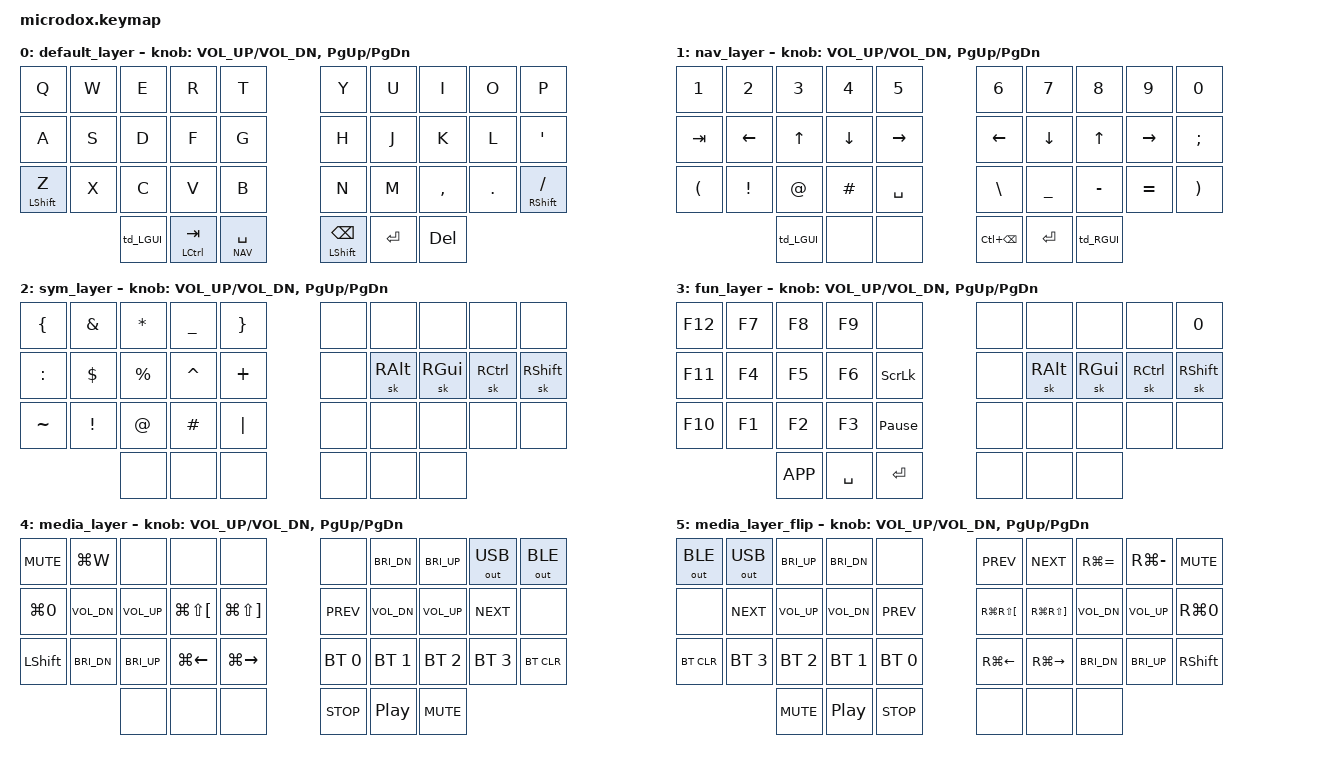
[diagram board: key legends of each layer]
/*
 * Copyright (c) 2020 The ZMK Contributors
 *
 * SPDX-License-Identifier: MIT
 */

#include <behaviors.dtsi>
#include <dt-bindings/zmk/keys.h>
#include <dt-bindings/zmk/bt.h>
#include <dt-bindings/zmk/outputs.h>

#define BASE        0
#define NAV         1
#define SYM         2
#define FUN         3
#define MEDIA       4
#define MEDIA_FLIP  5


// #define BASE        0
// #define CMK_DH      1
// #define NAV         2
// #define NUM         3
// #define SYM         4
// #define FUN         5
// #define MEDIA       6
// #define MEDIA_FLIP       7


&lt { // layer-tap
  tapping-term-ms = <200>;
  quick-tap-ms = <200>;
  flavor = "hold-preferred";
};

&sk { // sticky key
  release-after-ms = <500>;
  quick-release;
};

/ {
  behaviors { 
    td_LGUI: tap_dance_LGUI {
      compatible = "zmk,behavior-tap-dance";
      label = "TAP_DANCE_LGUI";
      #binding-cells = <0>;
      tapping-term-ms = <300>;
      bindings = <&kp LGUI>, <&kp LS(LGUI)>;
    };


    td_RGUI: tap_dance_RGUI {
      compatible = "zmk,behavior-tap-dance";
      label = "TAP_DANCE_RGUI";
      #binding-cells = <0>;
      tapping-term-ms = <300>;
      bindings = <&kp RGUI>, <&kp LS(RGUI)>;
    };

    
    td_RSHIFT: tap_dance_RSHIFT {
      compatible = "zmk,behavior-tap-dance";
      label = "TAP_DANCE_RSHIFT";
      #binding-cells = <0>;
      tapping-term-ms = <300>;
      bindings = <&kp RSHIFT>, <&kt RSHIFT>;
    };

    td_LSHIFT: tap_dance_LSHIFT {
      compatible = "zmk,behavior-tap-dance";
      label = "TAP_DANCE_LSHIFT";
      #binding-cells = <0>;
      tapping-term-ms = <300>;
      bindings = <&kp LSHIFT>, <&kt LSHIFT>;
    };
  };

 
  combos {
    compatible = "zmk,combos"; 

    combo_esc {
      timeout-ms = <50>;
      key-positions=<2 3>;
      bindings=<&kp ESC>;    
    };

    p_combo {
      timeout-ms = <50>;
      key-positions=<7 8>;
      bindings=<&kp P>;
    }; 

    q_combo {
      timeout-ms = <50>;
      key-positions=<1 2>;
      bindings=<&kp Q>;
    }; 

    lctrl {
      timeout-ms = <50>;
      key-positions=<12 13>;
      bindings=<&kp LCTRL>;
    }; 

    rctrl {
      timeout-ms = <50>;
      key-positions=<16 17>;
      bindings=<&kp RCTRL>;
    }; 

    // toggle_cmk_dh {
    //   timeout-ms = <50>;
    //   key-positions=<0 1 8 9>;
    //   bindings=<&tog CMK_DH>;
    // };

    // media_layer { 
    //   timeout-ms = <50>;
    //   key-positions=<30 31>;
    //   bindings=<&mo MEDIA>;
    // }
    
    // media_layer_flip { 
    //   timeout-ms = <50>;
    //   key-positions=<34 35>;
    //   bindings=<&mo MEDIA_FLIP>;
    // }; 

    // num_layer { 
    //   timeout-ms = <50>;
    //   key-positions=<33 34>;
    //   bindings=<&mo NUM>;
    // }; 

    // fn_layer {
    //   timeout-ms = <50>;
    //   key-positions=<31 32>; 
    //   bindings=<&mo FUN>;
    // };
    
    // left_bspc {
    //   timeout-ms = <50>;
    //   key-positions=<0 10>;
    //   bindings=<&kp BSPC>;
    // };

    // tab {
    //   timeout-ms = <50>;
    //   key-positions=<11 12 13>;
    //   bindings=<&kp TAB>;
    // };  

    // tab2 {
    //   timeout-ms = <50>;
    //   key-positions=<16 17 18>;
    //   bindings=<&kp TAB>;
    // };

    // grave {
    //   timeout-ms = <50>;
    //   key-positions=<1 2 3>;
    //   bindings=<&kp GRAVE>;
    // };

    // grave2 {
    //   timeout-ms = <50>;
    //   key-positions=<6 7 8>;
    //   bindings=<&kp GRAVE>;
    // };

    // shift_tab {
    //   timeout-ms = <50>;
    //   key-positions=<21 22 23>;
    //   bindings=<&kp LS(TAB)>;
    // };

    // shift_tab2 {
    //   timeout-ms = <50>;
    //   key-positions=<26 27 28>;
    //   bindings=<&kp LS(TAB)>;
    // };

    // left {
    //   timeout-ms = <50>;
    //   key-positions=<11 21>; 
    //   bindings=<&kp LEFT>;
    // };

    // left_2 {
    //   timeout-ms = <50>;
    //   key-positions=<15 25>; 
    //   bindings=<&kp LEFT>;
    // };

    // up {
    //   timeout-ms = <50>;
    //   key-positions=<12 22>; 
    //   bindings=<&kp UP>;
    // };
    
    // up_2 {
    //   timeout-ms = <50>;
    //   key-positions=<17 27>; 
    //   bindings=<&kp UP>;
    // };
    
    // down {
    //   timeout-ms = <50>;
    //   key-positions=<13 23>; 
    //   bindings=<&kp DOWN>;
    // };
    
    // down_2 {
    //   timeout-ms = <50>;
    //   key-positions=<16 26>; 
    //   bindings=<&kp DOWN>;
    // };
    
    // right {
    //   timeout-ms = <50>;
    //   key-positions=<14 24>; 
    //   bindings=<&kp RIGHT>;
    // };

    // right_2 {
    //   timeout-ms = <50>;
    //   key-positions=<18 28>; 
    //   bindings=<&kp RIGHT>;
    // };

    // caps { 
    //   timeout-ms = <50>;
    //   key-positions=<5 6>;
    //   bindings=<&kp CAPS>;
    // };

    // space { 
    //   timeout-ms = <50>;
    //   key-positions=<24 32>;
    //   bindings=<&kp SPACE>;
    // };

    // space_2 { 
    //   timeout-ms = <50>;
    //   key-positions=<13 14>;
    //   bindings=<&kp SPACE>;
    // };

    // semi_colon {
    //   timeout-ms = <50>;
    //   key-positions=<19 32>;
    //   bindings=<&kp SEMI>;
    // };

    // colon  {
    //   timeout-ms = <50>;
    //   key-positions=<10 19 32>;
    //   bindings=<&kp COLON>;
    // };
  
    // modifiers
    // l_shift {
    //   timeout-ms = <75>;
    //   key-positions = <20 21>;
    //   bindings = <&sk LSHFT>;
    // };

    // l_ctrl {
    //   timeout-ms = <50>;
    //   key-positions = <21 22>;
    //   bindings = <&sk LCTRL>;
    // };

    // l_gui {
    //   timeout-ms = <50>;
    //   key-positions = <22 23>;
    //   bindings = <&sk LGUI>;
    // };

    // l_alt {
    //   timeout-ms = <50>;
    //   key-positions = <23 24>;
    //   bindings = <&sk LALT>;
    // };

    // l_shift_pinky {
    //   timeout-ms = <75>;
    //   key-positions=<10 20>;
    //   bindings=<&td_LSHIFT>;
    // };

    // r_shift_pinky {
    //   timeout-ms = <75>;
    //   key-positions=<19 29>;
    //   bindings=<&td_RSHIFT>;
    // };

    // r_alt {
    //   timeout-ms = <50>;
    //   key-positions = <25 26>;
    //   bindings = <&sk RALT>;
    // };

    // r_gui {
    //   timeout-ms = <50>;
    //   key-positions = <26 27>;
    //   bindings = <&sk RGUI>;
    // };

    // r_ctrl {
    //   timeout-ms = <50>;
    //   key-positions = <27 28>;
    //   bindings = <&sk RCTRL>;
    // };

    // r_shift {
    //   timeout-ms = <75>;
    //   key-positions = <28 29>;
    //   bindings = <&sk RSHFT>;
    // };
  };
    keymap {
      compatible = "zmk,keymap";

      default_layer {
        bindings = <
                      &kp Q &kp W &kp E &kp R &kp T                   &kp Y &kp U &kp I &kp O &kp P             
                      &kp A &kp S &kp D &kp F &kp G                   &kp H &kp J &kp K &kp L &kp SQT      
                      &mt LSHIFT Z &kp X &kp C &kp V &kp B            &kp N &kp M &kp COMMA &kp DOT &mt RSHIFT FSLH  
                      &td_LGUI &mt LCTRL TAB &lt NAV SPACE            &mt LSHIFT BSPC &kp RET &kp DEL
        >;
                                
        sensor-bindings = <&inc_dec_kp C_VOL_UP C_VOL_DN &inc_dec_kp PG_UP PG_DN>;
      };
                  
      nav_layer {
                bindings = <
                    &kp N1 &kp N2 &kp N3 &kp N4 &kp N5              &kp N6 &kp N7 &kp N8 &kp N9 &kp N0 
                    &kp TAB &kp LEFT &kp UP &kp DOWN &kp RIGHT      &kp LEFT &kp DOWN &kp UP &kp RIGHT &kp SEMI 
                    &kp LPAR &kp EXCL &kp AT &kp HASH &kp SPACE     &kp BSLH &kp UNDER &kp MINUS &kp EQUAL &kp RPAR 
                                 &td_LGUI &none &none               &kp LC(BSPC) &kp RET &td_RGUI 
                >;

        sensor-bindings = <&inc_dec_kp C_VOL_UP C_VOL_DN &inc_dec_kp PG_UP PG_DN>;

      };

      sym_layer { // not being used  
                bindings = <
        &kp LBRC &kp AMPS &kp ASTRK &kp UNDER &kp RBRC          &none &none &none &none &none   
      &kp COLON &kp DLLR &kp PRCNT &kp CARET &kp PLUS          &none &sk RALT &sk RGUI &sk RCTRL &sk RSHFT 
          &kp TILDE &kp EXCL &kp AT &kp HASH &kp PIPE          &none &none &none &none &none 
                                    &none &none &none          &none &none &none
                >;

        sensor-bindings = <&inc_dec_kp C_VOL_UP C_VOL_DN &inc_dec_kp PG_UP PG_DN>;
        
      };

      fun_layer{
              bindings = <
          &kp F12 &kp F7 &kp F8 &kp F9 &none                     &none &none &none &none &kp N0  
          &kp F11 &kp F4 &kp F5 &kp F6 &kp SLCK                  &none &sk RALT &sk RGUI &sk RCTRL &sk RSHFT 
          &kp F10 &kp F1 &kp F2 &kp F3 &kp PAUSE_BREAK           &none &none &none &none &none 
                        &kp K_APP &kp SPACE &kp RET              &none &none &none  
            >;

    sensor-bindings = <&inc_dec_kp C_VOL_UP C_VOL_DN &inc_dec_kp PG_UP PG_DN>;
      };


      media_layer {
            bindings = <
                                     &kp C_MUTE &kp LG(W) &none &none &none         &none &kp C_BRI_DN &kp C_BRI_UP &out OUT_USB &out OUT_BLE 
            &kp LG(N0) &kp C_VOL_DN &kp C_VOL_UP &kp LG(LS(LBKT)) &kp LG(LS(RBKT))          &kp C_PREV &kp C_VOL_DN &kp C_VOL_UP &kp C_NEXT &none
                    &kp LSHIFT &kp C_BRI_DN &kp C_BRI_UP &kp LG(LEFT) &kp LG(RIGHT)          &bt BT_SEL 0 &bt BT_SEL 1 &bt BT_SEL 2 &bt BT_SEL 3 &bt BT_CLR  
                                                                  &none &none &none          &kp C_STOP &kp C_PP &kp C_MUTE              
            >;

      sensor-bindings = <&inc_dec_kp C_VOL_UP C_VOL_DN &inc_dec_kp PG_UP PG_DN>;
      };

      media_layer_flip {
            bindings = <
                        &out OUT_BLE &out OUT_USB &kp C_BRI_UP &kp C_BRI_DN &none         &kp C_PREV &kp C_NEXT &kp RG(EQUAL) &kp RG(MINUS) &kp C_MUTE
                            &none &kp C_NEXT &kp C_VOL_UP &kp C_VOL_DN &kp C_PREV         &kp RG(RS(LBKT)) &kp RG(RS(RBKT)) &kp C_VOL_DN &kp C_VOL_UP &kp RG(N0)
                   &bt BT_CLR &bt BT_SEL 3 &bt BT_SEL 2 &bt BT_SEL 1 &bt BT_SEL 0         &kp RG(LEFT) &kp RG(RIGHT) &kp C_BRI_DN &kp C_BRI_UP &kp RSHIFT
                                                  &kp C_MUTE &kp C_PP &kp C_STOP         &none &none &none       
            >;

      sensor-bindings = <&inc_dec_kp C_VOL_UP C_VOL_DN &inc_dec_kp PG_UP PG_DN>;
      };
  }; 
};  


